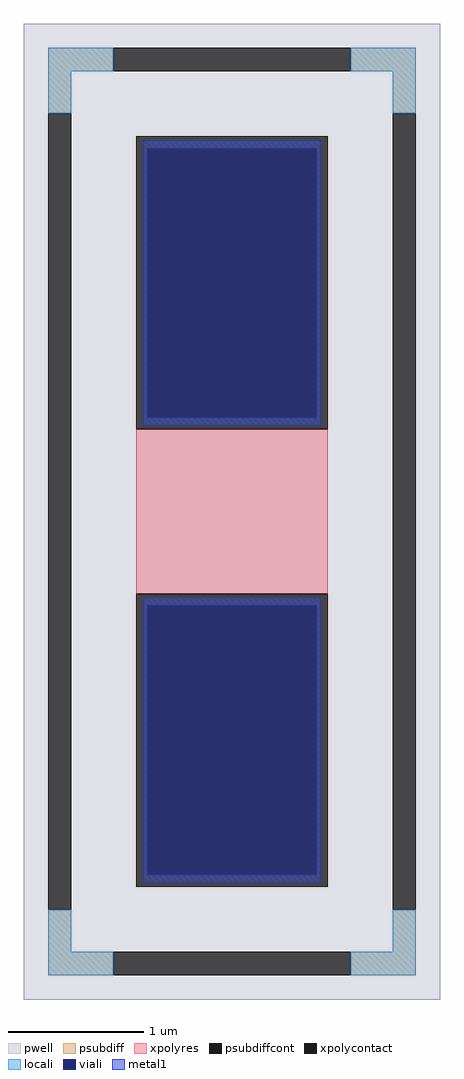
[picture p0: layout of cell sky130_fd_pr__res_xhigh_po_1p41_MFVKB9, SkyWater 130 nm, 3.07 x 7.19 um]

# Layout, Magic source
magic
tech sky130A
magscale 1 2
<< pwell >>
rect -307 -719 307 719
<< psubdiff >>
rect -271 649 -175 683
rect 175 649 271 683
rect -271 587 -237 649
rect 237 587 271 649
rect -271 -649 -237 -587
rect 237 -649 271 -587
rect -271 -683 -175 -649
rect 175 -683 271 -649
<< psubdiffcont >>
rect -175 649 175 683
rect -271 -587 -237 587
rect 237 -587 271 587
rect -175 -683 175 -649
<< xpolycontact >>
rect -141 121 141 553
rect -141 -553 141 -121
<< xpolyres >>
rect -141 -121 141 121
<< locali >>
rect -271 649 -175 683
rect 175 649 271 683
rect -271 587 -237 649
rect 237 587 271 649
rect -271 -649 -237 -587
rect 237 -649 271 -587
rect -271 -683 -175 -649
rect 175 -683 271 -649
<< viali >>
rect -125 138 125 535
rect -125 -535 125 -138
<< metal1 >>
rect -131 535 131 547
rect -131 138 -125 535
rect 125 138 131 535
rect -131 126 131 138
rect -131 -138 131 -126
rect -131 -535 -125 -138
rect 125 -535 131 -138
rect -131 -547 131 -535
<< properties >>
string FIXED_BBOX -254 -666 254 666
string gencell sky130_fd_pr__res_xhigh_po_1p41
string library sky130
string parameters w 1.410 l 1.374 m 1 nx 1 wmin 1.410 lmin 0.50 rho 2000 val 2.215k dummy 0 dw 0.0 term 188.2 sterm 0.0 caplen 0 wmax 1.410 guard 1 glc 1 grc 1 gtc 1 gbc 1 compatible {sky130_fd_pr__res_xhigh_po_0p35  sky130_fd_pr__res_xhigh_po_0p69 sky130_fd_pr__res_xhigh_po_1p41  sky130_fd_pr__res_xhigh_po_2p85 sky130_fd_pr__res_xhigh_po_5p73} snake 0 full_metal 1 n_guard 0 hv_guard 0 vias 1 viagb 0 viagt 0 viagl 0 viagr 0
<< end >>
